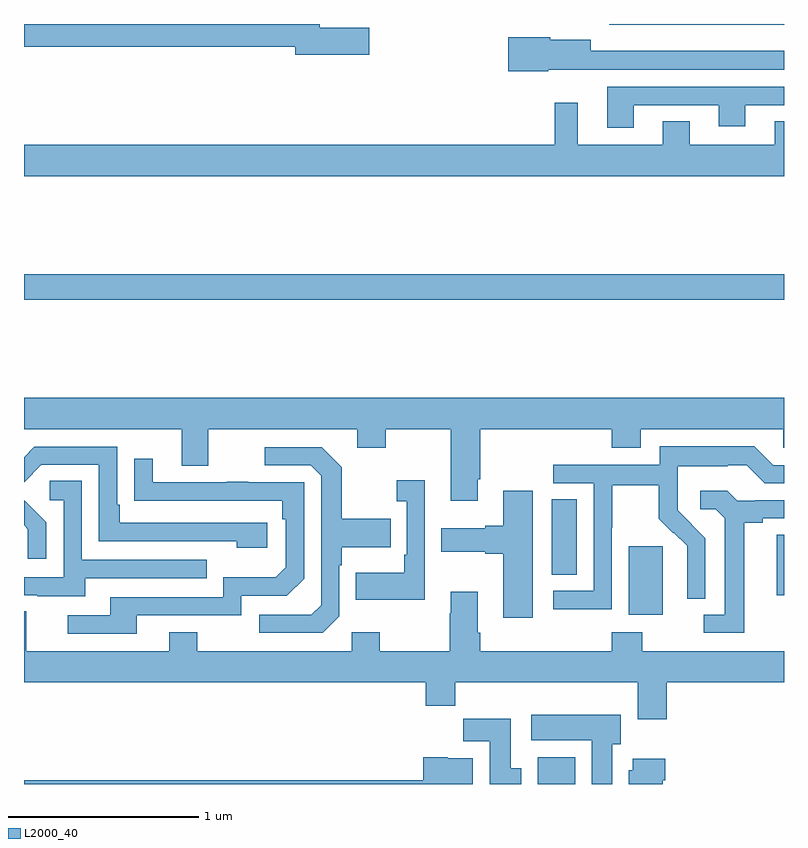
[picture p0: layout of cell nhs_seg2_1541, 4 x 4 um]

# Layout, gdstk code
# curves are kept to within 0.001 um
import gdstk
lib = gdstk.Library(unit=1e-6, precision=1e-09)
def R(c, l, rs):  # rectangles x0, y0, x1, y1
    for r in rs: c.add(gdstk.rectangle(r[:2], r[2:], *l))
def P(c, l, *ps):  # polygons
    for p in ps: c.add(gdstk.Polygon(p, *l))
L2000_40 = (2000, 40)

nhs_seg2_1541 = lib.new_cell('nhs_seg2_1541')
R(nhs_seg2_1541, L2000_40, [(193.703,613.8,193.9,613.942), (194.183,614.69,194.362,615.051), (194.963,614.793,195,615.113), (193.778,614.902,193.909,615.299), (191,616.348,195,616.484), (194.081,617.795,195,617.8)])
P(nhs_seg2_1541, L2000_40, [(192.817,617.78),(192.556,617.78),(192.556,617.8),(191,617.8),(191,617.68),(192.428,617.68),(192.428,617.638),(192.817,617.638)],
  [(193.76,617.558),(195,617.558),(195,617.659),(193.984,617.659),(193.984,617.716),(193.77,617.716),(193.77,617.729),(193.548,617.729),(193.548,617.551),(193.76,617.551)],
  [(194.209,617.373),(194.657,617.373),(194.657,617.261),(194.797,617.261),(194.797,617.373),(195,617.373),(195,617.469),(194.069,617.469),(194.069,617.253),(194.209,617.253)],
  [(195,617.288),(194.951,617.288),(194.951,617.164),(194.503,617.164),(194.503,617.288),(194.363,617.288),(194.363,617.164),(193.915,617.164),(193.915,617.386),(193.794,617.386),(193.794,617.164),(191,617.164),(191,617),(195,617)],
  [(193.387,615.403),(193.4,615.403),(193.4,615.668),(194.093,615.668),(194.093,615.569),(194.245,615.569),(194.245,615.668),(194.997,615.668),(194.997,615.57),(195,615.57),(195,615.832),(191,615.832),(191,615.668),(191.831,615.668),(191.831,615.474),(191.971,615.474),(191.971,615.668),(192.755,615.668),(192.755,615.569),(192.903,615.569),(192.903,615.668),(193.247,615.668),(193.247,615.291),(193.387,615.291)],
  [(194.094,615.148),(194.097,615.148),(194.097,615.372),(194.341,615.372),(194.341,615.197),(194.418,615.12),(194.421,615.123),(194.492,615.053),(194.492,614.93),(194.49,614.93),(194.49,614.776),(194.586,614.776),(194.586,615.094),(194.44,615.242),(194.44,615.339),(194.442,615.339),(194.442,615.473),(194.705,615.473),(194.705,615.477),(194.805,615.477),(194.898,615.384),(195,615.384),(195,615.477),(194.943,615.477),(194.843,615.577),(194.346,615.577),(194.346,615.48),(193.785,615.48),(193.785,615.384),(193.998,615.384),(193.998,614.817),(193.785,614.817),(193.785,614.719),(194.094,614.719)],
  [(192.28,615.174),(191.503,615.174),(191.503,615.271),(191.49,615.271),(191.49,615.576),(191.055,615.576),(191,615.521),(191,615.389),(191.091,615.48),(191.394,615.48),(191.394,615.078),(192.119,615.078),(192.119,615.044),(192.28,615.044)],
  [(192.66,614.682),(192.66,614.951),(192.673,614.951),(192.673,615.047),(192.929,615.047),(192.929,615.195),(192.673,615.195),(192.673,615.467),(192.567,615.573),(192.267,615.573),(192.267,615.477),(192.51,615.477),(192.564,615.423),(192.564,614.742),(192.513,614.691),(192.237,614.691),(192.237,614.595),(192.573,614.595)],
  [(191.593,614.688),(192.144,614.688),(192.144,614.79),(192.384,614.79),(192.474,614.88),(192.474,615.387),(192.179,615.387),(192.179,615.392),(192.067,615.392),(192.067,615.387),(191.677,615.387),(191.677,615.511),(191.581,615.511),(191.581,615.292),(192.358,615.291),(192.358,615.194),(192.378,615.194),(192.378,614.94),(192.325,614.887),(192.048,614.887),(192.048,614.784),(191.453,614.784),(191.453,614.688),(191.229,614.688),(191.229,614.592),(191.593,614.592)],
  [(193.11,615.4),(192.963,615.4),(192.963,615.287),(193.014,615.287),(193.014,615.007),(193.002,615.007),(193.002,614.911),(192.745,614.911),(192.745,614.771),(193.11,614.771)],
  [(191.323,614.883),(191.963,614.883),(191.963,614.979),(191.304,614.979),(191.304,615.395),(191.136,615.395),(191.136,615.294),(191.208,615.294),(191.208,614.889),(191,614.889),(191,614.793),(191.069,614.793),(191.069,614.789),(191.323,614.789)],
  [(194.791,615.176),(194.887,615.176),(194.887,615.198),(195,615.198),(195,615.294),(194.848,615.294),(194.848,615.291),(194.754,615.291),(194.702,615.343),(194.559,615.343),(194.559,615.246),(194.64,615.246),(194.687,615.199),(194.687,614.691),(194.577,614.691),(194.577,614.595),(194.791,614.595)],
  [(193.678,615.343),(193.523,615.343),(193.523,615.158),(193.427,615.158),(193.427,615.145),(193.197,615.145),(193.197,615.023),(193.427,615.023),(193.427,615.011),(193.523,615.011),(193.523,614.676),(193.678,614.676)],
  [(191.118,615.178),(191.002,615.294),(191,615.294),(191,615.162),(191.021,615.141),(191.021,614.985),(191.118,614.985)],
  [(194.384,614.336),(195,614.336),(195,614.5),(194.253,614.5),(194.253,614.599),(194.093,614.599),(194.093,614.5),(193.4,614.5),(193.4,614.596),(193.387,614.596),(193.387,614.812),(193.247,614.812),(193.247,614.699),(193.24,614.699),(193.24,614.5),(192.873,614.5),(192.873,614.599),(192.726,614.599),(192.726,614.5),(191.913,614.5),(191.913,614.599),(191.765,614.599),(191.765,614.5),(191.011,614.5),(191.011,614.708),(191,614.708),(191,614.336),(193.115,614.336),(193.115,614.212),(193.271,614.212),(193.271,614.336),(194.231,614.336),(194.231,614.142),(194.384,614.142)],
  [(194.095,614.01),(194.14,614.01),(194.14,614.164),(193.671,614.164),(193.671,614.03),(193.988,614.03),(193.988,613.8),(194.095,613.8)],
  [(193.618,613.884),(193.561,613.884),(193.561,614.143),(193.312,614.143),(193.312,614.024),(193.451,614.024),(193.451,613.8),(193.618,613.8)],
  [(193.363,613.936),(193.23,613.936),(193.23,613.942),(193.1,613.942),(193.1,613.82),(191,613.82),(191,613.8),(193.363,613.8)],
  [(194.362,613.82),(194.375,613.82),(194.375,613.933),(194.204,613.933),(194.204,613.872),(194.183,613.872),(194.183,613.8),(194.362,613.8)])

lib.write_gds('nhs_seg2_1541.gds')
